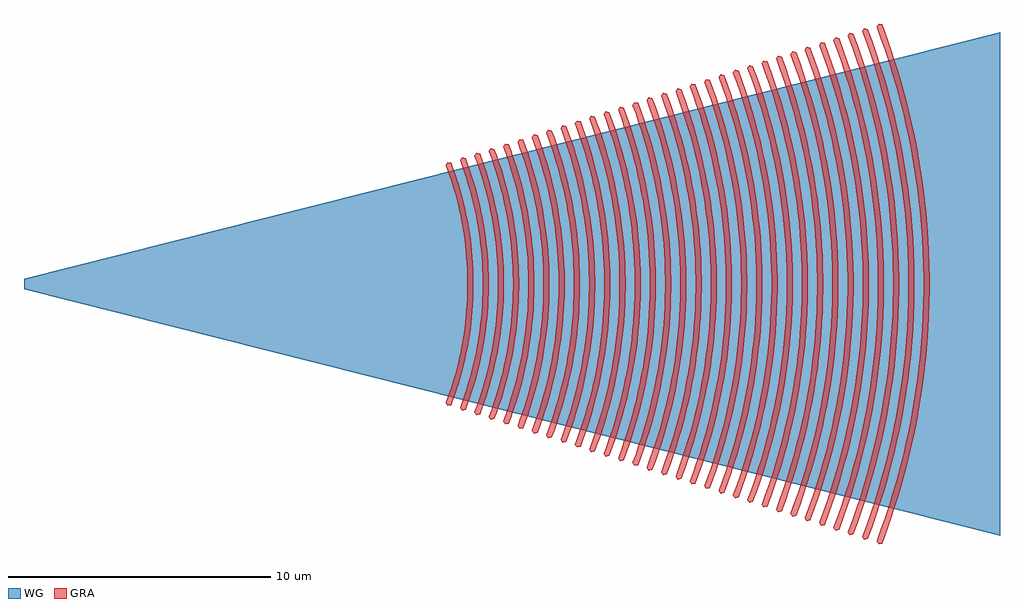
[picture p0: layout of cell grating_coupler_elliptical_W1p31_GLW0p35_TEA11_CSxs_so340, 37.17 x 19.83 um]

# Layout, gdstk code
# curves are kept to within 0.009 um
import gdstk
lib = gdstk.Library(unit=1e-6, precision=1e-09)
def P(c, l, *ps):  # polygons
    for p in ps: c.add(gdstk.Polygon(p, *l))
WG = (3, 0)
GRA = (6, 0)

grating_coupler_elliptic = lib.new_cell('grating_coupler_elliptical_W1p31_GLW0p35_TEA11_CSxs_so340')
P(grating_coupler_elliptic, WG, [(35.22,-9.584),(-1.95,-0.2),(-1.95,0.2),(35.22,9.584)])
P(grating_coupler_elliptic, GRA, [(14.193,-4.643),(14.112,-4.531),(14.265,-4.104),(14.465,-3.457),(14.63,-2.8),(14.76,-2.135),(14.855,-1.465),(14.899,-1.015),(14.939,-0.113),(14.915,0.79),(14.879,1.24),(14.796,1.912),(14.677,2.579),(14.523,3.239),(14.335,3.89),(14.112,4.531),(14.193,4.643),(14.326,4.611),(14.406,4.396),(14.621,3.74),(14.854,2.85),(14.986,2.173),(15.083,1.491),(15.143,0.804),(15.168,0.115),(15.155,-0.574),(15.107,-1.262),(15.022,-1.946),(14.901,-2.625),(14.685,-3.519),(14.406,-4.396),(14.326,-4.611)],
  [(14.74,-4.819),(14.659,-4.707),(14.817,-4.264),(15.025,-3.591),(15.197,-2.909),(15.332,-2.218),(15.402,-1.754),(15.477,-1.054),(15.518,-0.117),(15.506,0.586),(15.477,1.054),(15.37,1.986),(15.246,2.679),(15.086,3.365),(14.89,4.041),(14.659,4.707),(14.74,4.819),(14.873,4.787),(14.956,4.563),(15.179,3.883),(15.421,2.959),(15.558,2.256),(15.659,1.547),(15.721,0.834),(15.746,0.119),(15.734,-0.596),(15.684,-1.31),(15.596,-2.02),(15.47,-2.725),(15.308,-3.423),(15.035,-4.338),(14.873,-4.787)],
  [(15.287,-4.995),(15.206,-4.883),(15.446,-4.192),(15.586,-3.725),(15.763,-3.017),(15.904,-2.301),(15.978,-1.82),(16.033,-1.336),(16.072,-0.851),(16.097,-0.122),(16.072,0.851),(16.033,1.336),(15.943,2.061),(15.815,2.779),(15.649,3.49),(15.446,4.192),(15.206,4.883),(15.287,4.995),(15.42,4.963),(15.506,4.73),(15.806,3.787),(16.039,2.825),(16.13,2.339),(16.235,1.604),(16.3,0.865),(16.326,0.124),(16.312,-0.618),(16.261,-1.358),(16.169,-2.095),(16.039,-2.825),(15.806,-3.787),(15.506,-4.73),(15.42,-4.963)],
  [(15.834,-5.17),(15.753,-5.058),(16.002,-4.343),(16.212,-3.616),(16.384,-2.879),(16.476,-2.384),(16.551,-1.885),(16.632,-1.133),(16.663,-0.63),(16.676,-0.126),(16.65,0.882),(16.609,1.384),(16.517,2.135),(16.384,2.879),(16.212,3.616),(16.002,4.343),(15.753,5.058),(15.834,5.17),(15.967,5.138),(16.056,4.899),(16.22,4.413),(16.366,3.921),(16.496,3.425),(16.608,2.925),(16.743,2.169),(16.837,1.406),(16.878,0.896),(16.904,0.128),(16.891,-0.64),(16.837,-1.406),(16.743,-2.169),(16.608,-2.925),(16.496,-3.425),(16.366,-3.921),(16.22,-4.413),(16.056,-4.899),(15.967,-5.138)],
  [(16.381,-5.346),(16.3,-5.234),(16.476,-4.742),(16.707,-3.994),(16.897,-3.235),(17.048,-2.467),(17.126,-1.951),(17.209,-1.173),(17.242,-0.652),(17.254,-0.13),(17.251,0.391),(17.228,0.912),(17.186,1.432),(17.09,2.209),(16.953,2.979),(16.775,3.742),(16.557,4.494),(16.3,5.234),(16.381,5.346),(16.514,5.314),(16.692,4.816),(16.854,4.31),(16.997,3.8),(17.177,3.025),(17.316,2.243),(17.386,1.718),(17.456,0.926),(17.484,0.132),(17.47,-0.662),(17.414,-1.454),(17.316,-2.243),(17.177,-3.025),(16.997,-3.8),(16.854,-4.31),(16.692,-4.816),(16.514,-5.314)],
  [(16.928,-5.522),(16.846,-5.411),(17.029,-4.901),(17.267,-4.128),(17.464,-3.343),(17.62,-2.549),(17.702,-2.016),(17.787,-1.212),(17.82,-0.674),(17.834,-0.135),(17.83,0.404),(17.787,1.212),(17.734,1.749),(17.663,2.283),(17.521,3.08),(17.337,3.867),(17.113,4.645),(16.846,5.411),(16.928,5.522),(17.062,5.489),(17.245,4.975),(17.412,4.453),(17.559,3.925),(17.745,3.126),(17.889,2.317),(17.991,1.503),(18.034,0.957),(18.062,0.137),(18.058,-0.41),(18.015,-1.23),(17.928,-2.046),(17.799,-2.857),(17.626,-3.66),(17.331,-4.715),(17.062,-5.489)],
  [(17.475,-5.698),(17.393,-5.587),(17.582,-5.06),(17.828,-4.262),(18.031,-3.452),(18.192,-2.632),(18.31,-1.805),(18.364,-1.251),(18.399,-0.696),(18.412,-0.139),(18.408,0.418),(18.384,0.974),(18.31,1.805),(18.237,2.357),(18.09,3.18),(17.9,3.993),(17.668,4.796),(17.393,5.587),(17.475,5.698),(17.609,5.665),(17.798,5.134),(17.97,4.595),(18.122,4.051),(18.314,3.226),(18.463,2.391),(18.538,1.831),(18.612,0.988),(18.642,0.141),(18.627,-0.706),(18.567,-1.551),(18.463,-2.391),(18.314,-3.226),(18.122,-4.051),(17.97,-4.595),(17.798,-5.134),(17.609,-5.665)],
  [(18.021,-5.874),(17.94,-5.762),(18.224,-4.946),(18.389,-4.396),(18.598,-3.561),(18.765,-2.715),(18.85,-2.147),(18.916,-1.577),(18.962,-1.004),(18.992,-0.144),(18.977,0.718),(18.941,1.291),(18.85,2.147),(18.765,2.715),(18.598,3.561),(18.389,4.396),(18.224,4.946),(17.94,5.762),(18.021,5.874),(18.154,5.842),(18.35,5.293),(18.609,4.458),(18.756,3.894),(18.883,3.326),(19.036,2.466),(19.144,1.599),(19.19,1.018),(19.22,0.146),(19.205,-0.728),(19.144,-1.599),(19.078,-2.177),(18.94,-3.04),(18.822,-3.611),(18.685,-4.177),(18.442,-5.016),(18.154,-5.842)],
  [(18.568,-6.049),(18.487,-5.937),(18.687,-5.379),(18.949,-4.53),(19.165,-3.669),(19.337,-2.798),(19.425,-2.213),(19.519,-1.33),(19.556,-0.739),(19.57,-0.148),(19.556,0.739),(19.519,1.33),(19.425,2.213),(19.337,2.798),(19.165,3.669),(18.949,4.53),(18.687,5.379),(18.487,5.937),(18.568,6.049),(18.701,6.017),(18.903,5.453),(19.086,4.881),(19.248,4.302),(19.452,3.426),(19.61,2.54),(19.721,1.647),(19.784,0.749),(19.799,0.15),(19.784,-0.749),(19.721,-1.647),(19.61,-2.54),(19.452,-3.426),(19.248,-4.302),(19.086,-4.881),(18.903,-5.453),(18.701,-6.017)],
  [(19.115,-6.225),(19.034,-6.113),(19.24,-5.538),(19.51,-4.664),(19.732,-3.778),(19.909,-2.881),(20.037,-1.976),(20.096,-1.37),(20.134,-0.761),(20.15,-0.152),(20.145,0.457),(20.096,1.37),(20.037,1.976),(19.909,2.881),(19.732,3.778),(19.51,4.664),(19.24,5.538),(19.034,6.113),(19.115,6.225),(19.248,6.193),(19.456,5.612),(19.644,5.023),(19.811,4.428),(20.021,3.526),(20.135,2.919),(20.265,2.002),(20.346,1.08),(20.378,0.154),(20.373,-0.463),(20.324,-1.388),(20.227,-2.308),(20.081,-3.223),(19.956,-3.828),(19.811,-4.428),(19.553,-5.318),(19.248,-6.193)],
  [(19.662,-6.401),(19.581,-6.289),(19.89,-5.399),(20.07,-4.799),(20.299,-3.886),(20.481,-2.964),(20.613,-2.033),(20.674,-1.409),(20.713,-0.783),(20.728,-0.157),(20.724,0.47),(20.674,1.409),(20.613,2.033),(20.481,2.964),(20.299,3.886),(20.07,4.799),(19.89,5.399),(19.581,6.289),(19.662,6.401),(19.795,6.369),(20.01,5.771),(20.202,5.166),(20.374,4.554),(20.59,3.626),(20.707,3.002),(20.841,2.059),(20.924,1.11),(20.958,0.159),(20.941,-0.793),(20.874,-1.743),(20.757,-2.688),(20.59,-3.626),(20.374,-4.554),(20.202,-5.166),(20.01,-5.771),(19.795,-6.369)],
  [(20.209,-6.577),(20.128,-6.466),(20.346,-5.857),(20.631,-4.933),(20.866,-3.995),(21.053,-3.047),(21.149,-2.409),(21.223,-1.769),(21.274,-1.127),(21.308,-0.161),(21.303,0.483),(21.251,1.448),(21.149,2.409),(21.053,3.047),(20.866,3.995),(20.631,4.933),(20.346,5.857),(20.128,6.466),(20.209,6.577),(20.342,6.544),(20.562,5.931),(20.851,4.995),(21.016,4.363),(21.158,3.726),(21.33,2.762),(21.451,1.791),(21.502,1.141),(21.536,0.163),(21.519,-0.815),(21.451,-1.791),(21.377,-2.439),(21.222,-3.406),(21.016,-4.363),(20.851,-4.995),(20.664,-5.62),(20.342,-6.544)],
  [(20.756,-6.753),(20.675,-6.642),(21.001,-5.701),(21.191,-5.067),(21.433,-4.104),(21.625,-3.129),(21.764,-2.146),(21.829,-1.488),(21.87,-0.827),(21.886,-0.165),(21.87,0.827),(21.829,1.488),(21.764,2.146),(21.625,3.129),(21.433,4.104),(21.191,5.067),(21.001,5.701),(20.675,6.642),(20.756,6.753),(20.889,6.72),(21.115,6.09),(21.319,5.451),(21.499,4.805),(21.727,3.826),(21.851,3.167),(21.992,2.172),(22.08,1.172),(22.116,0.167),(22.098,-0.837),(22.057,-1.506),(21.951,-2.505),(21.792,-3.497),(21.581,-4.48),(21.411,-5.129),(21.219,-5.771),(20.889,-6.72)],
  [(21.303,-6.928),(21.222,-6.816),(21.451,-6.175),(21.752,-5.201),(22,-4.212),(22.197,-3.212),(22.34,-2.203),(22.406,-1.527),(22.448,-0.849),(22.466,-0.17),(22.448,0.849),(22.406,1.527),(22.34,2.203),(22.197,3.212),(22,4.212),(21.752,5.201),(21.557,5.852),(21.222,6.816),(21.303,6.928),(21.436,6.896),(21.667,6.249),(21.877,5.593),(22.062,4.931),(22.296,3.926),(22.423,3.25),(22.568,2.229),(22.658,1.202),(22.694,0.172),(22.676,-0.859),(22.604,-1.887),(22.526,-2.57),(22.363,-3.589),(22.224,-4.262),(22.062,-4.931),(21.775,-5.922),(21.436,-6.896)],
  [(21.85,-7.104),(21.769,-6.992),(22.112,-6.003),(22.403,-4.999),(22.641,-3.98),(22.769,-3.295),(22.874,-2.606),(22.953,-1.914),(23.027,-0.871),(23.044,-0.174),(23.027,0.871),(22.983,1.566),(22.874,2.606),(22.769,3.295),(22.641,3.98),(22.403,4.999),(22.112,6.003),(21.769,6.992),(21.85,7.104),(21.983,7.072),(22.221,6.408),(22.435,5.736),(22.625,5.057),(22.865,4.026),(22.995,3.333),(23.144,2.286),(23.236,1.233),(23.273,0.176),(23.255,-0.881),(23.181,-1.936),(23.1,-2.636),(22.933,-3.68),(22.791,-4.371),(22.625,-5.057),(22.33,-6.073),(21.983,-7.072)],
  [(22.397,-7.28),(22.316,-7.169),(22.557,-6.494),(22.873,-5.469),(23.134,-4.43),(23.341,-3.378),(23.491,-2.317),(23.561,-1.606),(23.605,-0.893),(23.624,-0.179),(23.618,0.536),(23.561,1.606),(23.491,2.317),(23.341,3.378),(23.134,4.43),(22.873,5.469),(22.557,6.494),(22.316,7.169),(22.397,7.28),(22.53,7.247),(22.773,6.568),(22.993,5.879),(23.188,5.182),(23.434,4.126),(23.567,3.416),(23.719,2.343),(23.814,1.264),(23.852,0.181),(23.846,-0.542),(23.789,-1.624),(23.675,-2.701),(23.504,-3.772),(23.358,-4.48),(23.188,-5.182),(22.886,-6.224),(22.53,-7.247)],
  [(22.943,-7.456),(22.862,-7.344),(23.109,-6.653),(23.434,-5.603),(23.701,-4.538),(23.913,-3.461),(24.022,-2.737),(24.106,-2.01),(24.184,-0.915),(24.202,-0.183),(24.197,0.549),(24.138,1.645),(24.067,2.374),(23.913,3.461),(23.701,4.538),(23.434,5.603),(23.109,6.653),(22.862,7.344),(22.943,7.456),(23.076,7.424),(23.327,6.727),(23.551,6.021),(23.751,5.308),(24.003,4.226),(24.139,3.499),(24.295,2.4),(24.392,1.294),(24.432,0.185),(24.412,-0.925),(24.334,-2.032),(24.25,-2.767),(24.074,-3.863),(23.925,-4.588),(23.751,-5.308),(23.441,-6.375),(23.076,-7.424)],
  [(23.49,-7.632),(23.409,-7.52),(23.779,-6.456),(24.092,-5.376),(24.347,-4.281),(24.485,-3.544),(24.596,-2.803),(24.683,-2.058),(24.762,-0.937),(24.782,-0.187),(24.776,0.562),(24.716,1.685),(24.643,2.431),(24.485,3.544),(24.347,4.281),(24.092,5.376),(23.779,6.456),(23.409,7.52),(23.49,7.632),(23.623,7.6),(23.997,6.526),(24.314,5.434),(24.571,4.327),(24.771,3.208),(24.911,2.08),(24.99,0.947),(25.01,0.189),(24.99,-0.947),(24.911,-2.08),(24.771,-3.208),(24.645,-3.955),(24.492,-4.697),(24.314,-5.434),(23.997,-6.526),(23.623,-7.6)],
  [(24.037,-7.807),(23.956,-7.696),(24.335,-6.607),(24.555,-5.872),(24.835,-4.756),(25.057,-3.627),(25.172,-2.868),(25.293,-1.724),(25.341,-0.958),(25.36,-0.192),(25.341,0.958),(25.293,1.724),(25.172,2.868),(25.057,3.627),(24.835,4.756),(24.555,5.872),(24.335,6.607),(23.956,7.696),(24.037,7.807),(24.17,7.774),(24.553,6.677),(24.876,5.559),(25.14,4.427),(25.283,3.665),(25.447,2.513),(25.548,1.355),(25.59,0.194),(25.569,-0.968),(25.487,-2.128),(25.344,-3.282),(25.215,-4.046),(24.971,-5.183),(24.775,-5.934),(24.553,-6.677),(24.17,-7.774)],
  [(24.584,-7.983),(24.503,-7.871),(24.768,-7.131),(25.115,-6.006),(25.402,-4.864),(25.629,-3.709),(25.746,-2.934),(25.871,-1.763),(25.919,-0.98),(25.94,-0.196),(25.933,0.588),(25.871,1.763),(25.746,2.934),(25.629,3.709),(25.402,4.864),(25.115,6.006),(24.768,7.131),(24.503,7.871),(24.584,7.983),(24.717,7.951),(25.108,6.828),(25.439,5.685),(25.709,4.527),(25.917,3.356),(26.064,2.176),(26.147,0.99),(26.168,0.198),(26.161,-0.594),(26.099,-1.781),(25.974,-2.964),(25.786,-4.138),(25.536,-5.301),(25.335,-6.068),(25.108,-6.828),(24.717,-7.951)],
  [(25.131,-8.159),(25.05,-8.048),(25.321,-7.29),(25.676,-6.14),(25.969,-4.973),(26.201,-3.792),(26.32,-2.999),(26.413,-2.202),(26.498,-1.002),(26.518,-0.201),(26.498,1.002),(26.448,1.803),(26.37,2.601),(26.201,3.792),(25.969,4.973),(25.676,6.14),(25.321,7.29),(25.05,8.048),(25.131,8.159),(25.264,8.126),(25.664,6.979),(26.002,5.811),(26.278,4.627),(26.491,3.43),(26.641,2.224),(26.726,1.012),(26.747,0.203),(26.726,-1.012),(26.641,-2.224),(26.548,-3.029),(26.356,-4.229),(26.101,-5.418),(25.896,-6.202),(25.664,-6.979),(25.264,-8.126)],
  [(25.678,-8.335),(25.597,-8.224),(25.874,-7.449),(26.236,-6.274),(26.536,-5.082),(26.773,-3.875),(26.896,-3.065),(27.026,-1.842),(27.076,-1.024),(27.098,-0.205),(27.091,0.615),(27.026,1.842),(26.896,3.065),(26.773,3.875),(26.536,5.082),(26.236,6.274),(25.874,7.449),(25.597,8.224),(25.678,8.335),(25.811,8.302),(26.219,7.13),(26.565,5.936),(26.847,4.727),(26.999,3.913),(27.174,2.684),(27.283,1.447),(27.326,0.207),(27.319,-0.621),(27.254,-1.86),(27.122,-3.095),(26.927,-4.321),(26.76,-5.132),(26.565,-5.936),(26.219,-7.13),(25.811,-8.302)],
  [(26.225,-8.511),(26.143,-8.4),(26.557,-7.211),(26.797,-6.408),(27.103,-5.19),(27.345,-3.958),(27.522,-2.715),(27.603,-1.882),(27.655,-1.046),(27.676,-0.209),(27.67,0.628),(27.603,1.882),(27.522,2.715),(27.345,3.958),(27.103,5.19),(26.797,6.408),(26.557,7.211),(26.143,8.4),(26.225,8.511),(26.359,8.478),(26.775,7.281),(27.128,6.062),(27.415,4.827),(27.638,3.579),(27.75,2.741),(27.861,1.478),(27.906,0.211),(27.883,-1.056),(27.794,-2.32),(27.698,-3.16),(27.497,-4.412),(27.327,-5.24),(27.128,-6.062),(26.775,-7.281),(26.359,-8.478)],
  [(26.772,-8.686),(26.691,-8.575),(27.112,-7.362),(27.469,-6.13),(27.76,-4.881),(27.917,-4.041),(28.044,-3.196),(28.143,-2.347),(28.211,-1.495),(28.256,-0.214),(28.233,1.068),(28.18,1.921),(28.097,2.772),(27.917,4.041),(27.76,4.881),(27.469,6.13),(27.112,7.362),(26.691,8.575),(26.772,8.686),(26.905,8.653),(27.33,7.432),(27.691,6.188),(27.984,4.927),(28.211,3.653),(28.371,2.369),(28.439,1.509),(28.484,0.216),(28.461,-1.078),(28.371,-2.369),(28.272,-3.226),(28.068,-4.504),(27.796,-5.769),(27.458,-7.019),(27.195,-7.842),(26.905,-8.653)],
  [(27.319,-8.862),(27.238,-8.751),(27.668,-7.513),(28.032,-6.256),(28.329,-4.981),(28.489,-4.124),(28.673,-2.828),(28.758,-1.96),(28.812,-1.09),(28.834,-0.218),(28.812,1.09),(28.758,1.96),(28.673,2.828),(28.489,4.124),(28.329,4.981),(28.032,6.256),(27.668,7.513),(27.238,8.751),(27.319,8.862),(27.452,8.829),(27.886,7.583),(28.254,6.314),(28.553,5.027),(28.785,3.727),(28.901,2.854),(29.017,1.539),(29.064,0.22),(29.04,-1.1),(28.986,-1.978),(28.847,-3.291),(28.639,-4.595),(28.461,-5.458),(28.254,-6.314),(27.886,-7.583),(27.452,-8.829)],
  [(27.866,-9.038),(27.784,-8.927),(28.085,-8.087),(28.479,-6.811),(28.804,-5.516),(29.061,-4.207),(29.194,-3.327),(29.296,-2.443),(29.367,-1.556),(29.414,-0.222),(29.406,0.667),(29.335,2),(29.249,2.885),(29.061,4.207),(28.804,5.516),(28.479,6.811),(28.085,8.087),(27.784,8.927),(27.866,9.038),(28,9.005),(28.441,7.734),(28.816,6.439),(29.122,5.127),(29.287,4.245),(29.477,2.911),(29.595,1.57),(29.642,0.224),(29.618,-1.122),(29.524,-2.465),(29.422,-3.357),(29.209,-4.687),(28.926,-6.004),(28.574,-7.304),(28.301,-8.161),(28,-9.005)],
  [(28.412,-9.214),(28.331,-9.102),(28.638,-8.246),(29.039,-6.945),(29.371,-5.625),(29.633,-4.289),(29.769,-3.392),(29.913,-2.039),(29.969,-1.134),(29.992,-0.227),(29.985,0.68),(29.913,2.039),(29.825,2.942),(29.633,4.289),(29.371,5.625),(29.039,6.945),(28.638,8.246),(28.331,9.102),(28.412,9.214),(28.545,9.182),(28.997,7.885),(29.379,6.565),(29.691,5.227),(29.859,4.327),(30.053,2.968),(30.173,1.601),(30.222,0.229),(30.197,-1.144),(30.101,-2.513),(29.931,-3.875),(29.78,-4.778),(29.491,-6.121),(29.259,-7.007),(28.997,-7.885),(28.545,-9.182)],
  [(28.959,-9.39),(28.878,-9.278),(29.19,-8.405),(29.6,-7.079),(29.938,-5.734),(30.036,-5.281),(30.205,-4.372),(30.343,-3.458),(30.49,-2.078),(30.547,-1.156),(30.572,-0.231),(30.564,0.693),(30.49,2.078),(30.343,3.458),(30.205,4.372),(30.036,5.281),(29.938,5.734),(29.6,7.079),(29.19,8.405),(28.878,9.278),(28.959,9.39),(29.092,9.358),(29.254,8.92),(29.552,8.036),(29.942,6.691),(30.26,5.327),(30.505,3.95),(30.628,3.025),(30.751,1.631),(30.8,0.233),(30.775,-1.166),(30.677,-2.561),(30.571,-3.488),(30.35,-4.87),(30.056,-6.238),(29.69,-7.59),(29.406,-8.479),(29.092,-9.358)],
  [(29.506,-9.565),(29.425,-9.453),(29.89,-8.117),(30.16,-7.213),(30.399,-6.301),(30.505,-5.842),(30.778,-4.455),(30.976,-3.056),(31.068,-2.118),(31.126,-1.177),(31.15,-0.236),(31.143,0.707),(31.068,2.118),(30.976,3.056),(30.778,4.455),(30.505,5.842),(30.399,6.301),(30.16,7.213),(29.89,8.117),(29.425,9.453),(29.506,9.565),(29.639,9.533),(29.804,9.088),(30.108,8.187),(30.505,6.816),(30.828,5.427),(31.004,4.493),(31.204,3.082),(31.329,1.662),(31.38,0.238),(31.371,-0.713),(31.296,-2.136),(31.146,-3.553),(30.921,-4.961),(30.621,-6.355),(30.249,-7.732),(29.959,-8.638),(29.639,-9.533)],
  [(30.053,-9.741),(29.972,-9.629),(30.445,-8.267),(30.721,-7.347),(30.964,-6.418),(31.072,-5.951),(31.35,-4.538),(31.492,-3.589),(31.603,-2.635),(31.679,-1.679),(31.73,-0.24),(31.721,0.72),(31.645,2.157),(31.552,3.113),(31.35,4.538),(31.072,5.951),(30.964,6.418),(30.721,7.347),(30.445,8.267),(29.972,9.629),(30.053,9.741),(30.186,9.709),(30.513,8.798),(30.663,8.337),(30.807,7.875),(31.068,6.942),(31.397,5.528),(31.576,4.576),(31.78,3.139),(31.907,1.693),(31.958,0.242),(31.932,-1.209),(31.831,-2.657),(31.72,-3.619),(31.491,-5.053),(31.186,-6.472),(30.807,-7.875),(30.513,-8.798),(30.186,-9.709)],
  [(30.6,-9.917),(30.518,-9.806),(30.849,-8.883),(31.001,-8.418),(31.409,-7.01),(31.529,-6.536),(31.742,-5.582),(31.922,-4.621),(32.067,-3.654),(32.222,-2.197),(32.283,-1.221),(32.308,-0.244),(32.283,1.221),(32.222,2.197),(32.067,3.654),(31.922,4.621),(31.742,5.582),(31.529,6.536),(31.409,7.01),(31.001,8.418),(30.849,8.883),(30.518,9.806),(30.6,9.917),(30.734,9.884),(31.219,8.488),(31.631,7.068),(31.966,5.628),(32.148,4.659),(32.295,3.684),(32.355,3.195),(32.485,1.723),(32.538,0.246),(32.511,-1.231),(32.407,-2.705),(32.295,-3.684),(32.062,-5.144),(31.751,-6.59),(31.365,-8.017),(31.065,-8.957),(30.734,-9.884)])

lib.write_gds('grating_coupler_elliptical_W1p31_GLW0p35_TEA11_CSxs_so340.gds')
